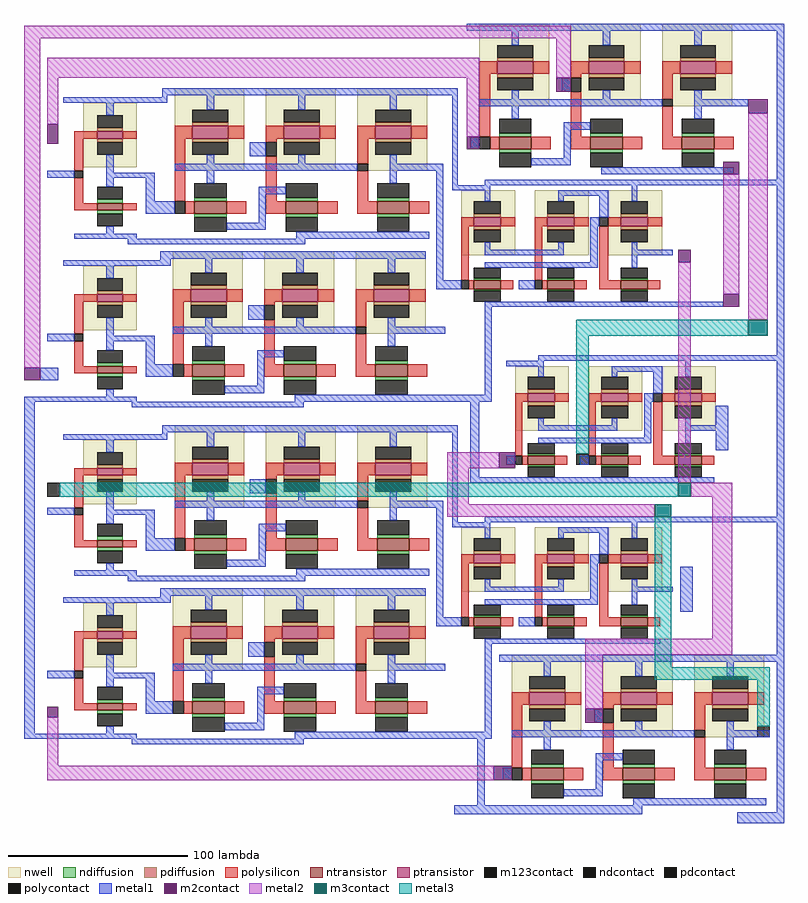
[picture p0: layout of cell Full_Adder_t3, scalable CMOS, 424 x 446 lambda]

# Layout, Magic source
magic
tech scmos
<< metal1 >>
rect 335 210 411 214
rect 379 168 391 172
rect 407 127 411 210
rect 323 124 411 127
rect 324 56 377 59
rect 407 29 411 124
rect 320 26 411 29
rect -4 15 6 22
rect -13 3 43 6
rect -13 -182 -7 3
rect 236 -39 241 7
rect 373 -24 380 1
rect 236 -42 296 -39
rect 407 -61 411 26
rect 323 -64 411 -61
rect 353 -114 360 -89
rect 407 -138 411 -64
rect 322 -142 411 -138
rect -13 -185 18 -182
rect 240 -222 244 -181
rect 327 -222 332 -218
rect 227 -227 332 -222
rect 407 -226 411 -142
rect 385 -232 411 -226
<< m2contact >>
rect 284 176 292 184
rect 391 164 402 172
rect 0 147 6 158
rect 234 144 241 151
rect 377 130 386 137
rect 352 81 359 88
rect 377 56 386 63
rect -13 15 -4 22
rect 252 -34 261 -25
rect 0 -173 6 -167
rect 300 -176 310 -168
rect 249 -208 259 -200
<< metal2 >>
rect -13 206 292 213
rect -13 22 -4 206
rect 0 184 241 195
rect 0 158 6 184
rect 234 151 241 184
rect 284 184 292 206
rect 223 -34 252 -25
rect 223 -54 235 -34
rect 352 -42 359 81
rect 377 63 386 130
rect 391 49 402 164
rect 359 -50 382 -42
rect 223 -61 339 -54
rect 371 -129 382 -50
rect 300 -138 382 -129
rect 0 -200 6 -173
rect 300 -168 310 -138
rect 0 -208 249 -200
<< m3contact >>
rect 391 40 402 49
rect 352 -50 359 -42
rect 339 -61 348 -54
<< m123contact >>
rect 295 -32 302 -26
rect 0 -50 7 -42
rect 396 -184 403 -178
<< metal3 >>
rect 295 40 391 49
rect 295 -26 302 40
rect 7 -50 352 -42
rect 339 -145 348 -61
rect 339 -152 403 -145
rect 396 -178 403 -152
use XOR  XOR_0
transform 1 0 144 0 1 89
box -144 -89 215 89
use XOR  XOR_1
transform 1 0 144 0 1 -99
box -144 -89 215 89
use AND_2  AND_2_0
transform 1 0 242 0 1 167
box -8 -37 143 47
use AND_2  AND_2_1
transform 1 0 260 0 1 -185
box -8 -37 143 47
use OR_2  OR_2_0
transform 1 0 303 0 1 -11
box -47 -31 71 40
<< end >>

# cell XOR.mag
magic
tech scmos
<< metal1 >>
rect -80 84 -77 89
rect 61 85 85 89
rect -135 81 -120 84
rect -96 81 -77 84
rect -31 51 -24 59
rect 68 43 77 47
rect -144 39 -129 43
rect -97 39 -84 42
rect -89 26 -84 39
rect -89 19 -73 26
rect -129 5 -121 8
rect -99 5 -94 8
rect -5 5 0 9
rect -99 2 0 5
rect -81 -7 -75 -2
rect -135 -10 -119 -7
rect -96 -10 -75 -7
rect 73 -18 77 43
rect 82 32 85 85
rect 194 -4 205 -1
rect 73 -23 87 -18
rect 119 -23 125 -18
rect -32 -40 -25 -32
rect 65 -48 78 -44
rect -144 -52 -129 -48
rect -101 -52 -84 -49
rect -89 -65 -84 -52
rect -89 -72 -74 -65
rect 100 -82 104 -30
rect -130 -86 -118 -83
rect -97 -86 -94 -83
rect -6 -86 -1 -82
rect 63 -86 104 -82
rect -97 -89 -1 -86
use OR_2  OR_2_0 /home/vsoham
transform 1 0 129 0 1 -2
box -47 -31 71 40
use AND_2  AND_2_1 /home/vsoham
transform 1 0 -73 0 1 -49
box -8 -37 143 47
use AND_2  AND_2_0
transform 1 0 -72 0 1 42
box -8 -37 143 47
use CMOS_in  CMOS_in_1 /home/vsoham
transform 1 0 -124 0 1 -46
box -13 -40 30 39
use CMOS_in  CMOS_in_0
transform 1 0 -124 0 1 45
box -13 -40 30 39
<< labels >>
flabel metal1 -144 -52 -137 -48 0 FreeSans 9 0 0 0 B
flabel metal1 -144 39 -137 43 0 FreeSans 9 0 0 0 A
flabel metal1 194 -4 205 -1 0 FreeSans 9 0 0 0 OUT
flabel metal1 65 -48 78 -44 0 FreeSans 9 0 0 0 ABc
flabel metal1 119 -23 125 -18 0 FreeSans 9 0 0 0 ABc
flabel metal1 -31 51 -24 59 0 FreeSans 9 0 0 0 B
flabel metal1 -32 -40 -25 -32 0 FreeSans 9 0 0 0 A
flabel metal1 -135 81 -123 84 0 FreeSans 9 0 0 0 VDD
flabel metal1 -135 -10 -123 -7 0 FreeSans 9 0 0 0 VDD
flabel metal1 -130 -86 -118 -83 0 FreeSans 9 0 0 0 GND
flabel metal1 -129 5 -121 8 0 FreeSans 9 0 0 0 GND
<< end >>

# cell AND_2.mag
magic
tech scmos
<< nwell >>
rect -1 1 38 47
rect 50 1 89 47
rect 101 1 140 47
<< ntransistor >>
rect 10 -23 28 -16
rect 61 -23 79 -16
rect 112 -23 130 -16
<< ptransistor >>
rect 9 19 29 26
rect 60 19 80 26
rect 111 19 131 26
<< ndiffusion >>
rect 10 -16 28 -14
rect 61 -16 79 -14
rect 112 -16 130 -14
rect 10 -25 28 -23
rect 61 -25 79 -23
rect 112 -25 130 -23
<< pdiffusion >>
rect 9 26 29 28
rect 60 26 80 28
rect 111 26 131 28
rect 9 17 29 19
rect 60 17 80 19
rect 111 17 131 19
<< ndcontact >>
rect 10 -14 28 -6
rect 61 -14 79 -6
rect 112 -14 130 -6
rect 10 -33 28 -25
rect 61 -33 79 -25
rect 112 -33 130 -25
<< pdcontact >>
rect 9 28 29 35
rect 60 28 80 35
rect 111 28 131 35
rect 9 10 29 17
rect 60 10 80 17
rect 111 10 131 17
<< polysilicon >>
rect -1 19 9 26
rect 29 19 38 26
rect 50 19 60 26
rect 80 19 89 26
rect 101 19 111 26
rect 131 19 140 26
rect -1 -16 5 19
rect 50 17 56 19
rect 50 -16 56 9
rect 101 5 107 19
rect 101 -16 107 1
rect 5 -23 10 -16
rect 28 -23 39 -16
rect 50 -23 61 -16
rect 79 -23 90 -16
rect 101 -23 112 -16
rect 130 -23 141 -16
<< polycontact >>
rect 50 9 56 17
rect 101 1 107 5
rect -1 -23 5 -16
<< metal1 >>
rect -8 43 140 47
rect 17 35 21 43
rect 68 35 72 43
rect 119 35 123 43
rect 17 5 21 10
rect 45 9 50 17
rect 68 5 72 10
rect 119 5 123 10
rect -1 1 101 5
rect 119 1 143 5
rect 17 -6 21 1
rect 119 -6 123 1
rect 46 -12 61 -8
rect -6 -23 -1 -16
rect 46 -28 50 -12
rect 28 -32 50 -28
rect 67 -37 141 -33
<< end >>

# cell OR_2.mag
magic
tech scmos
<< nwell >>
rect -42 -2 -12 34
rect -1 -2 29 34
rect 40 -2 70 34
<< ntransistor >>
rect -35 -21 -20 -16
rect 6 -21 21 -16
rect 47 -21 62 -16
<< ptransistor >>
rect -35 14 -20 19
rect 6 14 21 19
rect 47 14 62 19
<< ndiffusion >>
rect -35 -16 -20 -15
rect 6 -16 21 -15
rect 47 -16 62 -15
rect -35 -22 -20 -21
rect 6 -22 21 -21
rect 47 -22 62 -21
<< pdiffusion >>
rect -35 19 -20 21
rect 6 19 21 21
rect 47 19 62 21
rect -35 12 -20 14
rect 6 12 21 14
rect 47 12 62 14
<< ndcontact >>
rect -35 -15 -20 -9
rect 6 -15 21 -9
rect 47 -15 62 -9
rect -35 -28 -20 -22
rect 6 -28 21 -22
rect 47 -28 62 -22
<< pdcontact >>
rect -35 21 -20 28
rect 6 21 21 28
rect 47 21 62 28
rect -35 5 -20 12
rect 6 5 21 12
rect 47 5 62 12
<< polysilicon >>
rect -42 14 -35 19
rect -20 14 -12 19
rect -1 14 6 19
rect 21 14 29 19
rect 40 14 47 19
rect 62 14 70 19
rect -42 -16 -38 14
rect -1 -16 3 14
rect 35 -16 40 14
rect -38 -21 -35 -16
rect -20 -21 -13 -16
rect 3 -21 6 -16
rect 21 -21 28 -16
rect 35 -21 47 -16
rect 62 -21 69 -16
<< polycontact >>
rect 35 14 40 19
rect -42 -21 -38 -16
rect -1 -21 3 -16
<< metal1 >>
rect -29 37 56 40
rect -47 34 -26 37
rect -29 28 -26 34
rect 12 31 40 34
rect 12 28 15 31
rect 35 19 40 31
rect 53 28 56 37
rect 30 14 35 19
rect -29 1 -26 5
rect 12 1 15 5
rect -29 -2 15 1
rect 30 -6 34 14
rect -29 -9 34 -6
rect 53 1 56 5
rect 53 -2 71 1
rect 53 -9 56 -2
rect -47 -21 -42 -16
rect -6 -21 -1 -16
rect -29 -31 69 -28
<< end >>

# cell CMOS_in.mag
magic
tech scmos
<< nwell >>
rect 0 0 30 36
<< ntransistor >>
rect 8 -24 22 -20
<< ptransistor >>
rect 8 16 22 20
<< ndiffusion >>
rect 8 -20 22 -18
rect 8 -26 22 -24
<< pdiffusion >>
rect 8 20 22 22
rect 8 14 22 16
<< ndcontact >>
rect 8 -18 22 -11
rect 8 -33 22 -26
<< pdcontact >>
rect 8 22 22 29
rect 8 7 22 14
<< polysilicon >>
rect -5 16 8 20
rect 22 16 30 20
rect -5 -2 0 16
rect -5 -20 0 -6
rect -5 -24 8 -20
rect 22 -24 30 -20
<< polycontact >>
rect -5 -6 0 -2
<< metal1 >>
rect 0 36 30 39
rect 13 29 17 36
rect -13 -6 -5 -2
rect 13 -3 17 7
rect 13 -6 30 -3
rect 13 -11 17 -6
rect 13 -37 17 -33
rect 0 -40 30 -37
<< end >>
